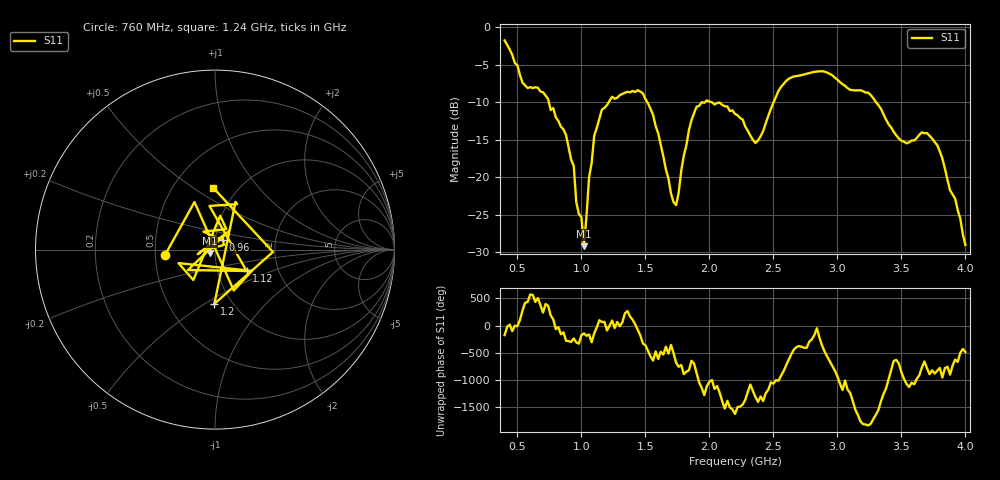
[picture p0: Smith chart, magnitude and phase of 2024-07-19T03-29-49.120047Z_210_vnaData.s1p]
!Created with skrf (http://scikit-rf.org).
# Hz S RI R 50.0
!freq ReS11 ImS11
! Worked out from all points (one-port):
!   181 points, 400 MHz to 4 GHz, reference 50 ohm
!   lowest |S11| = -29.2 dB at 1.02 GHz (marker M1), VSWR 1.07, Z = 47.2 - j1.9 ohm
!   |S11| at or under -10 dB: 745.6 MHz to 1.213 GHz (467.8 MHz wide, 47.8 % of centre); 2.018 GHz to 2.502 GHz (483.8 MHz wide, 21.4 % of centre); 3.302 GHz to end of sweep (the widest 3 of 4)
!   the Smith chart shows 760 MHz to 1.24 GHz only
!   S11 on the Smith chart (normalised r, x): 760 MHz: 0.56, -0.04; 960 MHz: 1.09, +0.11; 1.12 GHz: 1.38, -0.34; 1.2 GHz: 0.83, -0.55; 1.24 GHz: 0.78, +0.60
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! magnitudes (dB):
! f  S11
! 400 MHz  -1.8
! 540 MHz  -7.4
! 760 MHz  -11.1
! 860 MHz  -13.6
! 940 MHz  -18.5
! 960 MHz  -23.4
! 1 GHz  -25.4
! 1.02 GHz  -29.2
! 1.06 GHz  -20.0
! 1.12 GHz  -13.4
! 1.2 GHz  -10.4
! 1.24 GHz  -9.3
! 1.3 GHz  -9.1
! 1.48 GHz  -8.8
! 1.56 GHz  -11.7
! 1.72 GHz  -23.4
! 1.76 GHz  -22.1
! 1.84 GHz  -13.7
! 1.9 GHz  -10.6
! 2.2 GHz  -11.6
! 2.36 GHz  -15.4
! 2.54 GHz  -8.5
! 2.66 GHz  -6.6
! 3.1 GHz  -8.4
! 3.24 GHz  -8.7
! 3.56 GHz  -15.4
! 3.78 GHz  -15.7
! 4 GHz  -29.1
